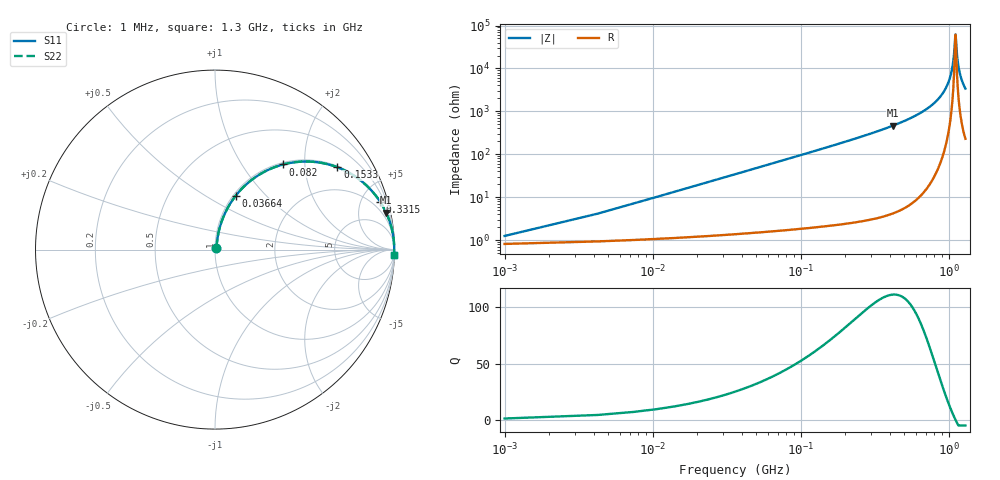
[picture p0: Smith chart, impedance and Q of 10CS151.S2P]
! Coilcraft 1008CS-151 Chip Inductor
! 02 July 2002
# MHZ S MA R 50
!Freq  MagS11  AngS11  MagS21  AngS21  MagS12  AngS12  MagS22  AngS22
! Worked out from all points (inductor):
!   402 points, 1 MHz to 1.3 GHz, reference 50 ohm
!   read as one part in series: L = 150 nH near 7.48 MHz
!   highest Q = 111 at 422.2 MHz (marker M1), where L = 175 nH
!   self-resonance near 1.112 GHz
!   S11 on the Smith chart (normalised r, x): 1 MHz: 1.02, +0.02; 36.64 MHz: 1.03, +0.69; 82 MHz: 1.03, +1.55; 153.3 MHz: 1.04, +2.94; 331.5 MHz: 1.06, +6.85; 1.3 GHz: 6, -68
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1  0.01233 48.8  0.9919 -0.5  0.9919 -0.5  0.01233 48.8
10.72  0.1 78.3  0.9846 -5.7  0.9846 -5.7  0.1 78.3
13.96  0.1295 77.8  0.9807 -7.4  0.9807 -7.4  0.1295 77.8
23.68  0.2157 74.4  0.9646 -12.4  0.9646 -12.4  0.2157 74.4
36.64  0.323 68.9  0.9337 -18.8  0.9337 -18.8  0.323 68.9
82  0.6072 51.4  0.7813 -37.4  0.7813 -37.4  0.6072 51.4
153.28  0.8218 33.9  0.5581 -55.3  0.5581 -55.3  0.8218 33.9
218.08  0.9018 25.0  0.4219 -64.4  0.4219 -64.4  0.9018 25.0
331.48  0.9575 16.2  0.2794 -73.2  0.2794 -73.2  0.9575 16.2
422.2  0.9758 12.1  0.21 -77.4  0.21 -77.4  0.9758 12.1
435.16  0.9776 11.7  0.202 -77.8  0.202 -77.8  0.9776 11.7
652.24  0.9931 6.1  0.1062 -83.2  0.1062 -83.2  0.9931 6.1
869.32  0.9976 2.7  0.04768 -85.7  0.04768 -85.7  0.9976 2.7
1011.88  0.9984 1.1  0.01843 -84.5  0.01843 -84.5  0.9984 1.1
1057.24  0.9984 0.6  0.01013 -80.9  0.01013 -80.9  0.9984 0.6
1086.4  0.9984 0.3  0.00508 -72.0  0.00508 -72.0  0.9984 0.3
1109.08  0.9984 0.1  0.001832 -29.7  0.001832 -29.7  0.9984 0.1
1115.56  0.9984 -0.0  0.001614 7.0  0.001614 7.0  0.9984 -0.0
1144.72  0.9983 -0.3  0.005365 71.7  0.005365 71.7  0.9983 -0.3
1177.12  0.9982 -0.6  0.01055 80.0  0.01055 80.0  0.9982 -0.6
1228.96  0.998 -1.1  0.01871 83.3  0.01871 83.3  0.998 -1.1
1300  0.9976 -1.7  0.02944 84.4  0.02944 84.4  0.9976 -1.7
